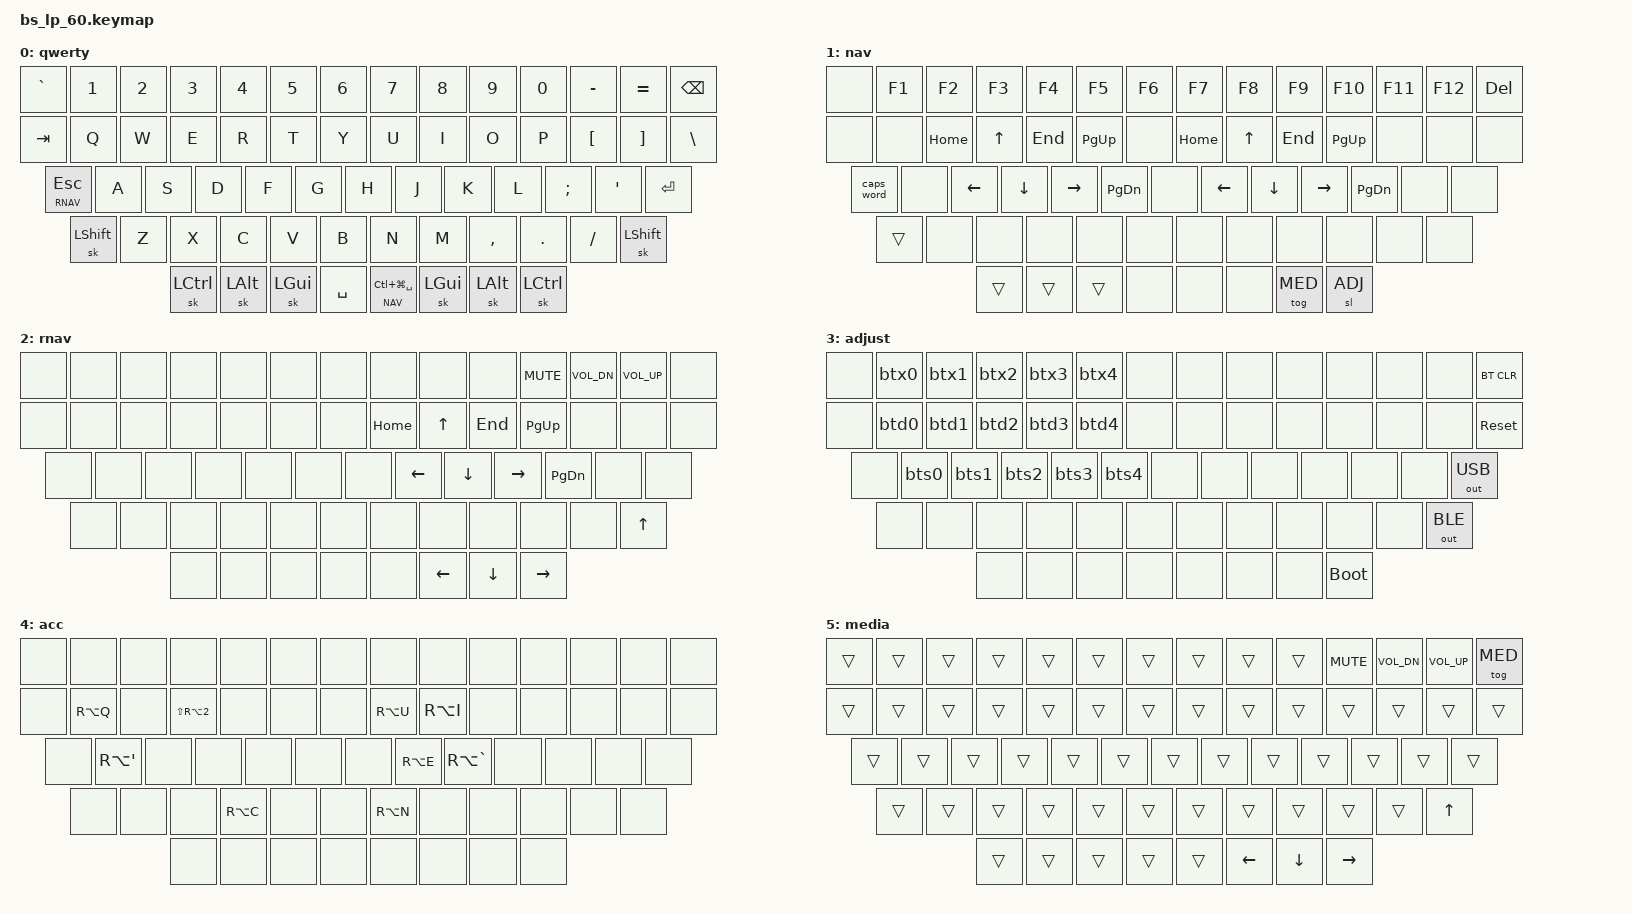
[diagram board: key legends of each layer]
#include <behaviors.dtsi>

#include <dt-bindings/zmk/keys.h>
#include <dt-bindings/zmk/bt.h>
#include <dt-bindings/zmk/outputs.h>
#include <dt-bindings/zmk/reset.h>
#include <dt-bindings/zmk/ext_power.h>

#define QWE 0
#define NAV 1
#define RNAV 2
#define ADJ 3
#define ACC 4
#define MED 5

#define ___ &none

#define MACRO(NAME, ...) NAME: NAME { bindings = __VA_ARGS__; #binding-cells = <0>; compatible = "zmk,behavior-macro"; };

&caps_word {
    continue-list = <BACKSPACE DELETE UNDERSCORE MINUS>;
};

/ {
    combos {
        compatible = "zmk,combos";
        combo_acc {
            timeout-ms = <50>;
            key-positions = <31 32>;
            layers = <QWE>;
            bindings = <&sl ACC>;
        };
    };
    macros {
        MACRO(bts0, <&bt BT_SEL 0>)
        MACRO(bts1, <&bt BT_SEL 1>)
        MACRO(bts2, <&bt BT_SEL 2>)
        MACRO(bts3, <&bt BT_SEL 3>)
        MACRO(bts4, <&bt BT_SEL 4>)

        MACRO(btd0, <&bt BT_DISC 0>)
        MACRO(btd1, <&bt BT_DISC 1>)
        MACRO(btd2, <&bt BT_DISC 2>)
        MACRO(btd3, <&bt BT_DISC 3>)
        MACRO(btd4, <&bt BT_DISC 4>)

        MACRO(btx0, <&bts0>, <&macro_wait_time 500>, <&btd1>, <&btd2>, <&btd3>, <&btd4>)
        MACRO(btx1, <&bts1>, <&macro_wait_time 500>, <&btd0>, <&btd2>, <&btd3>, <&btd4>)
        MACRO(btx2, <&bts2>, <&macro_wait_time 500>, <&btd0>, <&btd1>, <&btd3>, <&btd4>)
        MACRO(btx3, <&bts3>, <&macro_wait_time 500>, <&btd0>, <&btd1>, <&btd2>, <&btd4>)
        MACRO(btx4, <&bts4>, <&macro_wait_time 500>, <&btd0>, <&btd1>, <&btd2>, <&btd3>)
    };
	keymap {
		compatible = "zmk,keymap";

        qwerty {
			bindings = <
&kp GRAVE     &kp N1  &kp N2  &kp N3  &kp N4  &kp N5  &kp N6  &kp N7  &kp N8     &kp N9       &kp N0    &kp MINUS  &kp EQUAL    &kp BSPC
&kp TAB        &kp Q   &kp W   &kp E   &kp R   &kp T   &kp Y   &kp U   &kp I      &kp O        &kp P     &kp LBKT   &kp RBKT    &kp BSLH
&lt RNAV ESC    &kp A   &kp S   &kp D   &kp F   &kp G   &kp H   &kp J   &kp K      &kp L        &kp SEMI  &kp SQT               &kp RET
&sk LSHFT        &kp Z   &kp X   &kp C   &kp V   &kp B   &kp N   &kp M   &kp COMMA  &kp DOT      &kp FSLH                       &sk LSHIFT
&sk LCTRL      &sk LALT  &sk LGUI                &kp SPACE                &lt NAV LC(LG(SPACE))  &sk LGUI           &sk LALT    &sk LCTRL
			>;
		};

		nav {
			bindings = <
___        &kp F1  &kp F2    &kp F3    &kp F4     &kp F5     &kp F6  &kp F7    &kp F8    &kp F9     &kp F10    &kp F11  &kp F12     &kp DEL
___         ___     &kp HOME  &kp UP    &kp END    &kp PG_UP  ___     &kp HOME  &kp UP    &kp END    &kp PG_UP  ___     ___         ___
&caps_word   ___     &kp LEFT  &kp DOWN  &kp RIGHT  &kp PG_DN  ___     &kp LEFT  &kp DOWN  &kp RIGHT  &kp PG_DN  ___                ___
&trans        ___     ___       ___       ___        ___        ___     ___       ___       ___        ___                          ___
&trans      &trans    &trans                         ___                           ___                 ___              &tog MED    &sl ADJ
			>;
		};

		rnav {
			bindings = <
___    ___  ___  ___  ___  ___  ___  ___       ___       ___        &kp C_MUTE  &kp C_VOL_DN  &kp C_VOL_UP    ___
___     ___  ___  ___  ___  ___  ___  &kp HOME  &kp UP    &kp END    &kp PG_UP   ___           ___            ___
___      ___  ___  ___  ___  ___  ___  &kp LEFT  &kp DOWN  &kp RIGHT  &kp PG_DN   ___                         ___
___       ___  ___  ___  ___  ___  ___  ___       ___       ___        ___                                    &kp UP
___     ___    ___            ___                  ___                 &kp LEFT                &kp DOWN       &kp RIGHT
			>;
		};

		adjust {
			bindings = <
___    &btx0  &btx1  &btx2  &btx3  &btx4  ___ ___ ___ ___ ___ ___ ___     &bt BT_CLR
___     &btd0  &btd1  &btd2  &btd3  &btd4  ___ ___ ___ ___ ___ ___ ___    &sys_reset
___      &bts0  &bts1  &bts2  &bts3  &bts4  ___ ___ ___ ___ ___ ___       &out OUT_USB
___       ___    ___    ___    ___    ___    ___ ___ ___ ___ ___          &out OUT_BLE
___     ___      ___                  ___             ___    ___   ___    &bootloader
			>;
		};

        accents {
            display-name = "acc";
            bindings = <
___    ___          ___  ___             ___  ___  ___        ___        ___            ___  ___  ___  ___     ___
___     &kp RA(Q)    ___  &kp LS(RA(N2))  ___  ___  ___        &kp RA(U)  &kp     RA(I)  ___  ___  ___  ___    ___
___      &kp RA(SQT)  ___  ___             ___  ___  ___        &kp RA(E)  &kp RA(GRAVE)  ___  ___  ___        ___
___       ___          ___  &kp     RA(C)   ___  ___  &kp RA(N)  ___        ___            ___  ___            ___
___     ___            ___                       ___                         ___                ___     ___    ___
            >;
        };

		media {
			bindings = <
&trans    &trans  &trans  &trans  &trans  &trans  &trans  &trans  &trans  &trans  &kp C_MUTE  &kp C_VOL_DN  &kp C_VOL_UP    &tog MED
&trans     &trans  &trans  &trans  &trans  &trans  &trans  &trans  &trans  &trans  &trans      &trans        &trans         &trans
&trans      &trans  &trans  &trans  &trans  &trans  &trans  &trans  &trans  &trans  &trans      &trans                      &trans
&trans       &trans  &trans  &trans  &trans  &trans  &trans  &trans  &trans  &trans  &trans                                 &kp UP
&trans     &trans    &trans                  &trans                   &trans         &kp LEFT                &kp DOWN       &kp RIGHT
			>;
		};
	};
};

// ------------------------------------------------------------------------------------------
// | ESC |  1  |  2  |  3  |  4  |  5  |  6  |  7  |  8  |  9  |  0  |  -  |  =  |   BKSP   |
// | TAB  |  Q  |  W  |  E  |  R  |  T  |  Y  |  U  |  I  |  O  |  P  |  [  |  ]  |   "|"   |
// | CAPS  |  A  |  S  |  D  |  F  |  G  |  H  |  J  |  K  |  L  |  ;  |  '  |     ENTER    |
// |  SHIFT  |  Z  |  X  |  C  |  V  |  B  |  N  |  M  |  ,  |  .  |  /  |      SHIFT       |
// |  CTL  |  WIN  |  ALT  |            SPACE              |  ALT  |  WIN  |  MO(1) |  CTL  |
// ------------------------------------------------------------------------------------------

/*
___    ___  ___  ___  ___  ___  ___  ___  ___  ___  ___  ___  ___     ___
___     ___  ___  ___  ___  ___  ___  ___  ___  ___  ___  ___  ___    ___
___      ___  ___  ___  ___  ___  ___  ___  ___  ___  ___  ___        ___
___       ___  ___  ___  ___  ___  ___  ___  ___  ___  ___            ___
___     ___    ___            ___             ___      ___     ___    ___
*/
